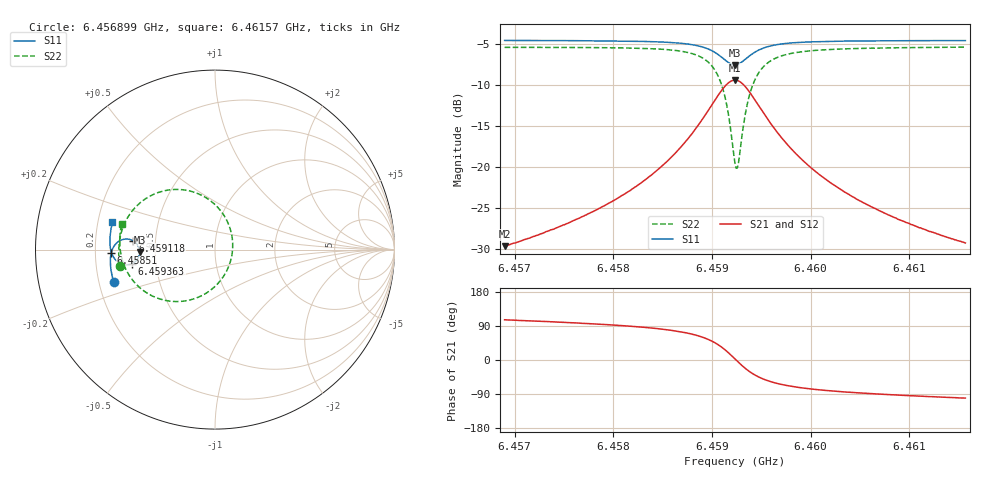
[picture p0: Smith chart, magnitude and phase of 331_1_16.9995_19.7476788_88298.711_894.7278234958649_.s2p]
#  HZ  S  RI  R  50.00
! Rohde & Schwarz Vector Network Analyzer
! Rohde-Schwarz,ZNB20-2Port,1311601062101988,3.16
! Created: UTC 3/20/2024, 11:06:54 PM
! freq[Hz]  re:S11  im:S11  re:S21  im:S21  re:S12  im:S12  re:S22  im:S22
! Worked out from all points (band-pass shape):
!   401 points, 6.456899 GHz to 6.46157 GHz, reference 50 ohm
!   highest |S21| = -9.38 dB at 6.459234 GHz (marker M1); lowest = -29.6 dB at 6.456899 GHz (marker M2)
!   |S21| within 3 dB of the highest: 6.459001 GHz to 6.459468 GHz (466.9 kHz wide, 0.00723 % of centre)
!   lowest |S11| = -7.5 dB at 6.459234 GHz (marker M3), VSWR 2.45, Z = 20.4 - j0.634 ohm
!   |S11| at or under -10 dB: nowhere
!   |S22| runs from -20.1 to -5.4 dB; largest |S21 - S12| = 0.013
!   S11 on the Smith chart (normalised r, x): 6.456899 GHz: 0.26, -0.14; 6.45851 GHz: 0.27, -0.02; 6.459118 GHz: 0.37, +0.05; 6.459363 GHz: 0.37, -0.07; 6.46157 GHz: 0.26, +0.12
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6.4568988e9  -0.5647 -0.1782  -0.0092 0.0317  -0.00747 0.0317  -0.5297 -0.0909
6.4576812e9  -0.5797 -0.1103  -0.0059 0.0496  -0.00355 0.0489  -0.5363 -0.000824
6.458125e9  -0.5831 -0.0659  -0.000127 0.0693  0.00327 0.0679  -0.5287 0.0685
6.4584637e9  -0.5797 -0.0258  0.0131 0.0971  0.017 0.0945  -0.5049 0.1435
6.4585104e9  -0.5784 -0.0193  0.0165 0.1025  0.0205 0.0996  -0.4989 0.1563
6.4587206e9  -0.5665 0.0126  0.0418 0.134  0.0461 0.1292  -0.4513 0.2274
6.4588724e9  -0.5455 0.0389  0.0837 0.164  0.0872 0.1575  -0.3746 0.2911
6.4590242e9  -0.5 0.0588  0.1741 0.1832  0.1752 0.1758  -0.2103 0.3353
6.4591176e9  -0.4558 0.0491  0.2627 0.1528  0.2631 0.147  -0.0471 0.2871
6.4591644e9  -0.4349 0.0306  0.3058 0.111  0.3071 0.1058  0.0343 0.213
6.4592344e9  -0.42 -0.0128  0.3391 0.016  0.3426 0.0089  0.0985 0.0376
6.4592461e9  -0.4204 -0.0207  0.3391 -0.00143  0.3426 -0.00914  0.0985 0.00472
6.4592695e9  -0.4239 -0.036  0.3337 -0.0357  0.3374 -0.0445  0.0879 -0.0593
6.4593278e9  -0.4443 -0.0669  0.2966 -0.1066  0.2978 -0.1187  0.0131 -0.1923
6.4593629e9  -0.4609 -0.0779  0.2648 -0.1351  0.264 -0.148  -0.0503 -0.2437
6.4594563e9  -0.5036 -0.0846  0.1819 -0.1662  0.1759 -0.1775  -0.2148 -0.2894
6.4596081e9  -0.547 -0.0643  0.0954 -0.1532  0.0873 -0.1593  -0.3787 -0.242
6.4597716e9  -0.5684 -0.0367  0.0513 -0.1261  0.0439 -0.1289  -0.4577 -0.1718
6.4600169e9  -0.5811 -0.00126  0.0224 -0.0954  0.0166 -0.0958  -0.5052 -0.091
6.4603672e9  -0.5857 0.0399  0.00638 -0.0691  0.0025 -0.0686  -0.5266 -0.0129
6.4607993e9  -0.5837 0.0831  -0.00131 -0.0509  -0.00402 -0.0502  -0.5307 0.0548
6.4615701e9  -0.5715 0.1512  -0.00628 -0.034  -0.00813 -0.0331  -0.5195 0.1444
